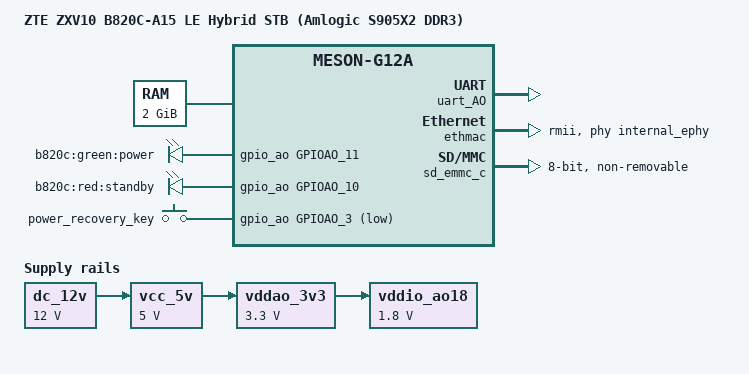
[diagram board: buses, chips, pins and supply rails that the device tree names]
// SPDX-License-Identifier: (GPL-2.0+ OR MIT)
/*
 * Device Tree Source para ZTE ZXV10 B820C-A15 LE (izzitv Smart / Hybrid DVB-C + OTT STB)
 * SoC: Amlogic S905X2 (Meson G12A - 12nm Quad-Core Cortex-A53 + Mali-G31 MP2)
 * RAM: 2 GB DDR3 (0x00000000 - 0x80000000)
 * Almacenamiento: 4 GB / 8 GB eMMC 5.1 + Sintonizador Hibrido DVB-C / ITU-T J.83B QAM
 * FCC ID: Q78-ZXV10B820CA15
 */

/dts-v1/;

#include "meson-g12a.dtsi"

/ {
	compatible = "zte,zxv10-b820c-a15", "amlogic,g12a";
	model = "ZTE ZXV10 B820C-A15 LE Hybrid STB (Amlogic S905X2 DDR3)";
	amlogic-dt-id = "g12a_u212_2g_b820c";

	aliases {
		serial0 = &uart_AO;
		serial1 = &uart_A;
		ethernet0 = &ethmac;
		mmc0 = &sd_emmc_c; /* eMMC */
		mmc1 = &sd_emmc_a; /* SDIO Wi-Fi/BT */
	};

	chosen {
		stdout-path = "serial0:115200n8";
		bootargs = "init=/init console=ttyS0,115200 no_console_suspend earlycon=aml-uart,0xff803000 ramoops.pstore_en=1 ramoops.record_size=0x8000 ramoops.console_size=0x4000 androidboot.hardware=amlogic androidboot.dtbo_idx=0";
	};

	/* 2 GB DDR3 Memory Map (ZTE B820C-A15 LE) */
	memory@0 {
		device_type = "memory";
		reg = <0x0 0x0 0x0 0x80000000>; /* 2048 MB DDR3 */
	};

	reserved-memory {
		#address-cells = <2>;
		#size-cells = <2>;
		ranges;

		/* BL31 / TEE Secure Monitor & Widevine L1 / Nagra CAS */
		secmon_reserved: linux,secmon {
			compatible = "shared-dma-pool";
			reusable;
			size = <0x0 0x3400000>; /* 52 MB para OP-TEE + Widevine L1 + Nagra TA */
			alignment = <0x0 0x400000>;
			alloc-ranges = <0x0 0x05000000 0x0 0x3400000>;
		};

		/* Buffer de hardware para decodificacion 4K HEVC/VP9 y Demux DVB-C */
		codec_mm_cma: linux,codec-mm-cma {
			compatible = "shared-dma-pool";
			reusable;
			size = <0x0 0x13c00000>; /* 316 MB CMA para pipeline hibrido 4K + QAM */
			alignment = <0x0 0x400000>;
		};
	};

	/* Reguladores de alimentacion (Entrada principal 12V DC -> Buck 5V -> 3.3V / 1.8V) */
	dc_12v: regulator-dc-12v {
		compatible = "regulator-fixed";
		regulator-name = "12V_DC_IN";
		regulator-min-microvolt = <12000000>;
		regulator-max-microvolt = <12000000>;
		regulator-always-on;
	};

	vcc_5v: regulator-vcc-5v {
		compatible = "regulator-fixed";
		regulator-name = "VCC5V_MAIN";
		regulator-min-microvolt = <5000000>;
		regulator-max-microvolt = <5000000>;
		vin-supply = <&dc_12v>;
		regulator-always-on;
	};

	vddao_3v3: regulator-vddao-3v3 {
		compatible = "regulator-fixed";
		regulator-name = "VDDAO_3V3";
		regulator-min-microvolt = <3300000>;
		regulator-max-microvolt = <3300000>;
		vin-supply = <&vcc_5v>;
		regulator-always-on;
	};

	vddio_ao18: regulator-vddio-ao18 {
		compatible = "regulator-fixed";
		regulator-name = "VDDIO_AO18_EMMC";
		regulator-min-microvolt = <1800000>;
		regulator-max-microvolt = <1800000>;
		vin-supply = <&vddao_3v3>;
		regulator-always-on;
	};

	/* Subsistema Hibrido DVB-C / QAM Annex B (Coaxial RF 54-860 MHz) */
	dvb-extern {
		compatible = "amlogic, dvb-extern";
		dev_name = "dvb-extern";
		status = "okay";

		fe_num = <1>;
		fe0_demod = "internal_or_mxl214_avl6381";
		fe0_i2c_adap_id = <&i2c2>;
		fe0_demod_i2c_addr = <0x60>;
		fe0_tuner0_i2c_addr = <0x10>;
		fe0_ts_in = <0>; /* Conectado a TS0 de Amlogic S905X2 */
		fe0_delivery_system = "DVBC_ANNEX_A", "DVBC_ANNEX_B"; /* QAM 64/256 */
	};

	dvb-demux {
		compatible = "amlogic, dvb-demux";
		dev_name = "dvb-demux";
		status = "okay";
		ts0 = "parallel";
		ts0_control = <0x0>;
		ts0_invert = <0x0>;
	};

	/* LEDs de estado frontal (Rojo = Standby / Boot, Verde = Activo / Recovery) */
	leds {
		compatible = "gpio-leds";

		led-power-green {
			label = "b820c:green:power";
			gpios = <&gpio_ao GPIOAO_11 GPIO_ACTIVE_HIGH>;
			default-state = "on";
		};

		led-standby-red {
			label = "b820c:red:standby";
			gpios = <&gpio_ao GPIOAO_10 GPIO_ACTIVE_HIGH>;
			default-state = "off";
		};
	};

	/* Boton fisico superior/frontal de Encendido y entrada a Recovery (30s) */
	gpio-keys-polled {
		compatible = "gpio-keys-polled";
		poll-interval = <100>;

		button-power {
			label = "power_recovery_key";
			linux,code = <KEY_POWER>;
			gpios = <&gpio_ao GPIOAO_3 GPIO_ACTIVE_LOW>;
		};
	};
};

/* Consola Serial UART (115200 8N1 - Puntos TP11/TP12 en PCB) */
&uart_AO {
	status = "okay";
	pinctrl-0 = <&uart_ao_a_pins>;
	pinctrl-names = "default";
};

/* Ethernet 10/100 Mbps (PHY interno Amlogic G12A RMII) */
&ethmac {
	status = "okay";
	phy-handle = <&internal_ephy>;
	phy-mode = "rmii";
};

/* Almacenamiento interno eMMC (4 GB / 8 GB) + Tabla de particiones ZTE */
&sd_emmc_c {
	status = "okay";
	pinctrl-0 = <&emmc_ctrl_pins>, <&emmc_data_8b_pins>, <&emmc_ds_pins>;
	pinctrl-1 = <&emmc_clk_gate_pins>;
	pinctrl-names = "default", "clk-gate";

	bus-width = <8>;
	cap-mmc-highspeed;
	mmc-ddr-1_8v;
	mmc-hs200-1_8v;
	max-frequency = <200000000>;
	non-removable;
	disable-wp;

	partitions {
		compatible = "amlogic,emmc-partitions";
		bootloader { offset = <0x0 0x00000000>; size = <0x0 0x00400000>; }; /* 4 MB BL2/FIP DDR3 */
		reserved   { offset = <0x0 0x02400000>; size = <0x0 0x04000000>; }; /* 64 MB DTB/Tabla */
		cache      { offset = <0x0 0x06c00000>; size = <0x0 0x20000000>; }; /* 512 MB Cache */
		env        { offset = <0x0 0x27400000>; size = <0x0 0x00800000>; }; /* 8 MB U-Boot Env */
		logo       { offset = <0x0 0x28400000>; size = <0x0 0x00800000>; }; /* 8 MB Splash izzi/ZTE */
		recovery   { offset = <0x0 0x29400000>; size = <0x0 0x01800000>; }; /* 24 MB Recovery */
		misc       { offset = <0x0 0x2b400000>; size = <0x0 0x00800000>; }; /* 8 MB BCB */
		dtbo       { offset = <0x0 0x2c400000>; size = <0x0 0x00800000>; }; /* 8 MB DTBO */
		cri_data   { offset = <0x0 0x2d400000>; size = <0x0 0x00800000>; }; /* 8 MB MAC/Serial ZTE */
		param      { offset = <0x0 0x2e400000>; size = <0x0 0x01000000>; }; /* 16 MB Parametros Amlogic */
		boot       { offset = <0x0 0x2fc00000>; size = <0x0 0x01000000>; }; /* 16 MB Kernel + Ramdisk */
		tee        { offset = <0x0 0x31400000>; size = <0x0 0x02000000>; }; /* 32 MB OP-TEE / CAS */
		factory    { offset = <0x0 0x33c00000>; size = <0x0 0x00800000>; }; /* 8 MB Widevine L1 Keybox */
		conf       { offset = <0x0 0x34c00000>; size = <0x0 0x00400000>; }; /* 4 MB ZTE Config */
		oem        { offset = <0x0 0x35800000>; size = <0x0 0x01000000>; }; /* 16 MB OEM Operator */
		vbmeta     { offset = <0x0 0x37000000>; size = <0x0 0x00200000>; }; /* 2 MB AVB 2.0 */
		metadata   { offset = <0x0 0x37a00000>; size = <0x0 0x01000000>; }; /* 16 MB Metadata */
		super      { offset = <0x0 0x39200000>; size = <0x0 0x60000000>; }; /* 1.5 GB Dynamic Partitions */
		userdata   { offset = <0x0 0x99a00000>; size = <0x0 0x00000000>; }; /* Resto de la eMMC */
	};
};
